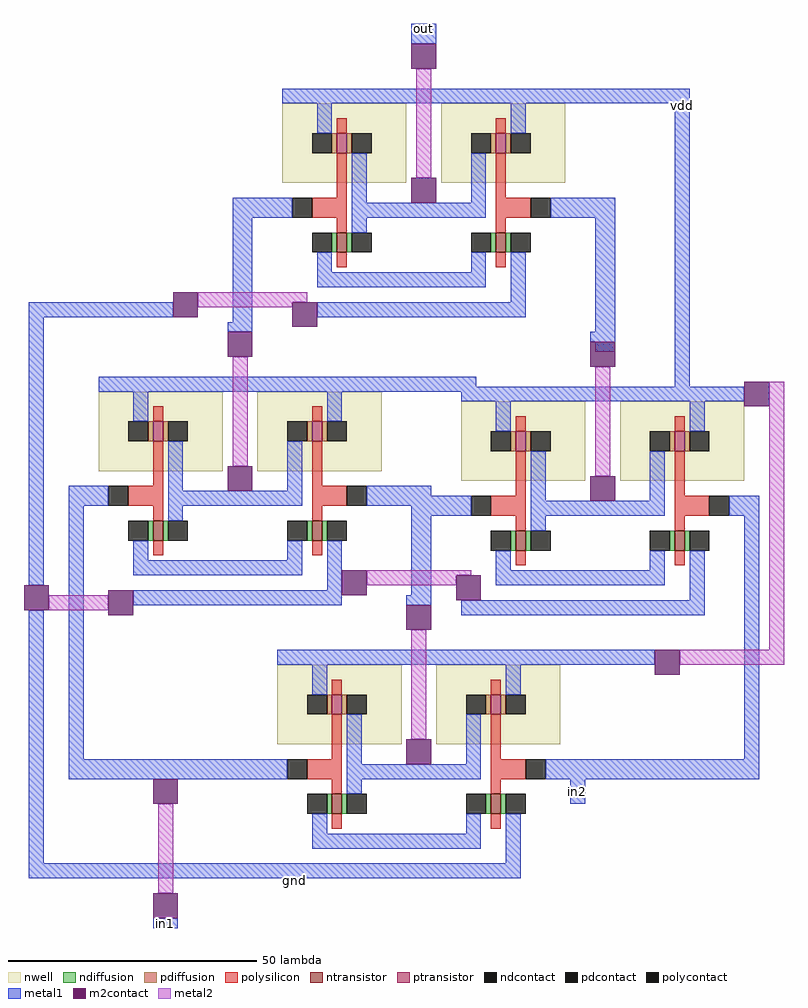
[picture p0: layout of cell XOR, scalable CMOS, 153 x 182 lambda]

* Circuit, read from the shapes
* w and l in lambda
.subckt XOR gnd in1 in2 out vdd
M1 NAND_3/in1 in1 n1 VSUBS nfet w=4 l=2
M2 gnd NAND_2/in1 n1 VSUBS nfet w=4 l=2
M3 NAND_2/in1 in1 n2 VSUBS nfet w=4 l=2
M4 out NAND_3/in1 n3 VSUBS nfet w=4 l=2
M5 gnd in2 n2 VSUBS nfet w=4 l=2
M6 gnd NAND_3/in2 n3 VSUBS nfet w=4 l=2
M7 NAND_3/in2 NAND_2/in1 n4 VSUBS nfet w=4 l=2
M8 gnd in2 n4 VSUBS nfet w=4 l=2
M9 NAND_3/in1 in1 vdd n5 pfet w=4 l=2
M10 vdd NAND_2/in1 NAND_3/in1 n6 pfet w=4 l=2
M11 NAND_2/in1 in1 vdd n7 pfet w=4 l=2
M12 out NAND_3/in1 vdd n8 pfet w=4 l=2
M13 vdd in2 NAND_2/in1 n9 pfet w=4 l=2
M14 vdd NAND_3/in2 out n10 pfet w=4 l=2
M15 NAND_3/in2 NAND_2/in1 vdd n11 pfet w=4 l=2
M16 vdd in2 NAND_3/in2 n12 pfet w=4 l=2
.ends

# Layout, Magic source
magic
tech scmos
<< metal1 >>
rect 28 170 33 172
rect 59 156 84 159
rect -8 133 1 137
rect 58 133 69 137
rect -49 113 -20 116
rect -49 59 -46 113
rect -8 112 -4 133
rect 9 113 24 116
rect 65 106 69 133
rect 22 99 41 101
rect 81 99 84 156
rect 22 98 38 99
rect -41 75 -36 79
rect 21 77 32 79
rect 21 75 37 77
rect -49 3 -46 54
rect -41 24 -38 75
rect 28 73 37 75
rect 94 73 98 77
rect -28 55 -13 58
rect 28 57 32 73
rect 38 53 60 56
rect 58 43 77 46
rect 95 24 98 73
rect -41 20 0 24
rect 57 20 98 24
rect 60 15 63 20
rect -49 0 8 3
rect 3 -1 6 0
rect -24 -10 -19 -8
<< m2contact >>
rect -20 113 -15 118
rect 4 111 9 116
rect 95 95 100 100
rect -50 54 -45 59
rect -33 53 -28 58
rect 14 57 19 62
rect 37 56 42 61
rect 77 41 82 46
rect -24 15 -19 20
rect -24 -8 -19 -3
<< metal2 >>
rect -15 116 7 118
rect -15 115 4 116
rect -45 54 -33 57
rect 19 61 40 62
rect 19 59 37 61
rect 100 46 103 100
rect 82 43 103 46
rect -23 -3 -20 15
use NAND  NAND_3
transform 1 0 2 0 1 140
box -1 -27 57 30
use NAND  NAND_2
transform 1 0 38 0 1 80
box -1 -27 57 30
use NAND  NAND_1
transform 1 0 -35 0 1 82
box -1 -27 57 30
use NAND  NAND_0
transform 1 0 1 0 1 27
box -1 -27 57 30
<< labels >>
rlabel metal1 3 -1 6 0 1 gnd
rlabel metal1 28 170 33 172 5 out
rlabel metal1 60 15 63 20 1 in2
rlabel metal1 -24 -10 -19 -8 1 in1
rlabel metal1 81 152 84 159 1 vdd
<< end >>

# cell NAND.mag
magic
tech scmos
<< nwell >>
rect 0 0 25 16
rect 32 0 57 16
<< ntransistor >>
rect 11 -14 13 -10
rect 43 -14 45 -10
<< ptransistor >>
rect 11 6 13 10
rect 43 6 45 10
<< ndiffusion >>
rect 10 -14 11 -10
rect 13 -14 14 -10
rect 42 -14 43 -10
rect 45 -14 46 -10
<< pdiffusion >>
rect 10 6 11 10
rect 13 6 14 10
rect 42 6 43 10
rect 45 6 46 10
<< ndcontact >>
rect 6 -14 10 -10
rect 14 -14 18 -10
rect 38 -14 42 -10
rect 46 -14 50 -10
<< pdcontact >>
rect 6 6 10 10
rect 14 6 18 10
rect 38 6 42 10
rect 46 6 50 10
<< polysilicon >>
rect 11 10 13 13
rect 43 10 45 13
rect 11 -3 13 6
rect 6 -7 13 -3
rect 11 -10 13 -7
rect 43 -3 45 6
rect 43 -7 50 -3
rect 43 -10 45 -7
rect 11 -17 13 -14
rect 43 -17 45 -14
<< polycontact >>
rect 2 -7 6 -3
rect 50 -7 54 -3
<< metal1 >>
rect 26 28 31 30
rect 0 16 57 19
rect 7 10 10 16
rect 46 10 49 16
rect -1 -7 2 -3
rect 14 -4 17 6
rect 38 -4 41 6
rect 14 -7 41 -4
rect 54 -7 56 -3
rect 14 -10 17 -7
rect 7 -18 10 -14
rect 38 -18 41 -14
rect 7 -21 41 -18
rect 46 -24 49 -14
rect 7 -27 49 -24
<< m2contact >>
rect 26 23 31 28
rect 26 -4 31 1
<< metal2 >>
rect 27 1 30 23
<< labels >>
rlabel metal1 0 16 57 19 5 vdd
rlabel metal1 0 -7 2 -3 3 in1
rlabel metal1 54 -7 56 -3 7 in2
rlabel metal1 26 28 31 30 5 out
rlabel metal1 7 -27 49 -24 1 gnd
<< end >>
